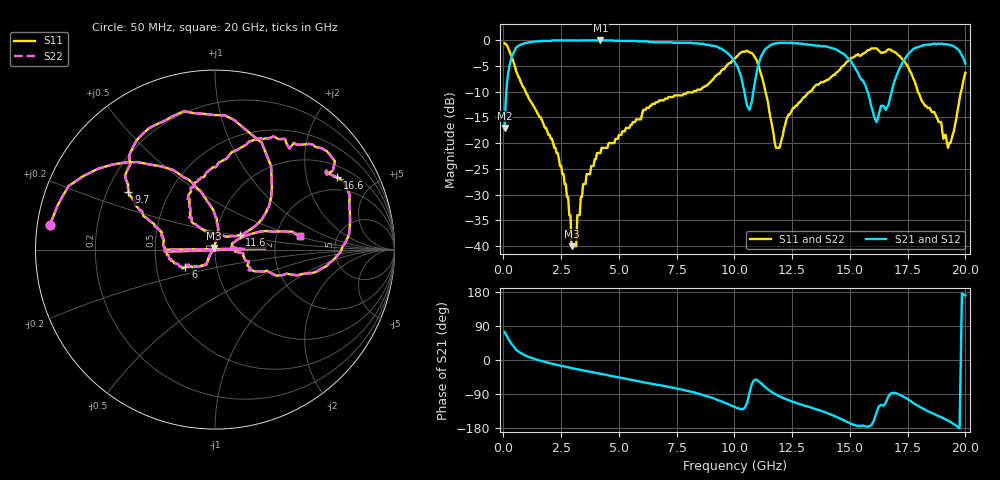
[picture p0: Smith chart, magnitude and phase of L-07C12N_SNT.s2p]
#	mhz	s	ma	r	50
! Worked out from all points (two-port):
!   400 points, 50 MHz to 20 GHz, reference 50 ohm
!   highest |S21| = -0.09 dB at 4.2 GHz (marker M1); lowest = -17.1 dB at 50 MHz (marker M2)
!   |S21| within 3 dB of the highest: 376.4 MHz to 9.823 GHz (9.446 GHz wide, 185 % of centre); 11.17 GHz to 14.82 GHz (3.654 GHz wide, 28.1 % of centre) (the widest 2 of 3)
!   lowest |S11| = -40.0 dB at 2.95 GHz (marker M3), VSWR 1.02, Z = 49.6 + j0.894 ohm
!   |S11| at or under -10 dB: 959.2 MHz to 8.231 GHz (7.272 GHz wide, 158 % of centre); 11.34 GHz to 13.28 GHz (1.94 GHz wide, 15.8 % of centre); 17.94 GHz to 19.81 GHz (1.872 GHz wide, 9.92 % of centre)
!   |S22| runs from -40.0 to -0.6 dB; largest |S21 - S12| = 0
!   S11 on the Smith chart (normalised r, x): 50 MHz: 0.04, +0.08; 6 GHz: 0.71, -0.14; 9.7 GHz: 0.29, +0.28; 11.6 GHz: 1.30, +0.22; 16.6 GHz: 1.42, +3.05; 20 GHz: 2.72, +0.54
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50  0.93 171.4  0.14 74.0  0.14 74.0  0.93 171.4
550  0.5 117.6  0.85 26.9  0.85 26.9  0.5 117.6
2950  0.01 115.6  0.99 -21.4  0.99 -21.4  0.01 115.6
3400  0.03 -137.1  0.99 -26.9  0.99 -26.9  0.03 -137.1
4200  0.08 -121.5  0.99 -36.4  0.99 -36.4  0.08 -121.5
6000  0.19 -150.2  0.97 -58.0  0.97 -58.0  0.19 -150.2
6700  0.25 -167.5  0.95 -65.7  0.95 -65.7  0.25 -167.5
7200  0.28 1.2  0.95 -71.4  0.95 -71.4  0.28 1.2
7250  0.28 180.0  0.95 -72.1  0.95 -72.1  0.28 180.0
9700  0.58 146.3  0.75 -115.9  0.75 -115.9  0.58 146.3
10050  0.67 134.8  0.59 -125.3  0.59 -125.3  0.67 134.8
10650  0.76 95.1  0.21 -86.5  0.21 -86.5  0.76 95.1
11600  0.16 30.6  0.9 -83.9  0.9 -83.9  0.16 30.6
13350  0.32 118.3  0.89 -126.5  0.89 -126.5  0.32 118.3
16600  0.79 30.6  0.22 -105.6  0.22 -105.6  0.79 30.6
16700  0.81 25.2  0.25 -93.7  0.25 -93.7  0.81 25.2
17750  0.42 -18.7  0.82 -113.3  0.82 -113.3  0.42 -18.7
19600  0.17 24.4  0.84 -173.2  0.84 -173.2  0.17 24.4
19750  0.27 21.9  0.78 -179.9  0.78 -179.9  0.27 21.9
19800  0.31 19.5  0.74 -2.1  0.74 -2.1  0.31 19.5
19850  0.34 17.1  0.71 175.6  0.71 175.6  0.34 17.1
20000  0.48 9.1  0.59 170.7  0.59 170.7  0.48 9.1
